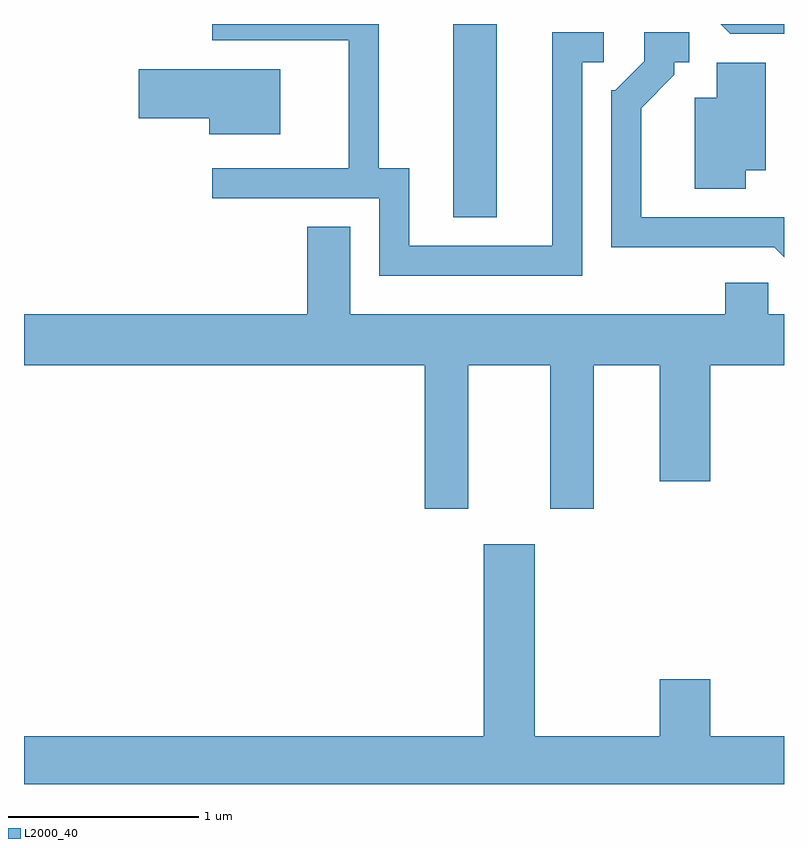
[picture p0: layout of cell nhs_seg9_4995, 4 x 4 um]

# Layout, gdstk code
import gdstk
lib = gdstk.Library(unit=1e-6, precision=1e-09)
def R(c, l, rs):  # rectangles x0, y0, x1, y1
    for r in rs: c.add(gdstk.rectangle(r[:2], r[2:], *l))
def P(c, l, *ps):  # polygons
    for p in ps: c.add(gdstk.Polygon(p, *l))
L2000_40 = (2000, 40)

nhs_seg9_4995 = lib.new_cell('nhs_seg9_4995')
R(nhs_seg9_4995, L2000_40, [(333.871,2061.416,334.099,2062.432)])
P(nhs_seg9_4995, L2000_40, [(334.549,2062.231),(334.663,2062.231),(334.663,2062.389),(334.391,2062.389),(334.391,2061.264),(333.639,2061.264),(333.639,2061.674),(333.479,2061.674),(333.479,2062.432),(332.603,2062.432),(332.603,2062.346),(333.321,2062.346),(333.321,2061.674),(332.603,2061.674),(332.603,2061.516),(333.481,2061.516),(333.481,2061.106),(334.549,2061.106)],
  [(335.611,2062.432),(335.278,2062.432),(335.329,2062.381),(335.611,2062.381)],
  [(335.611,2061.414),(334.859,2061.414),(334.859,2061.989),(335.034,2062.164),(335.034,2062.231),(335.113,2062.231),(335.113,2062.389),(334.876,2062.389),(334.876,2062.237),(334.724,2062.084),(334.701,2062.084),(334.701,2061.256),(335.559,2061.256),(335.611,2061.204)],
  [(335.409,2061.661),(335.514,2061.661),(335.514,2062.229),(335.256,2062.229),(335.256,2062.044),(335.141,2062.044),(335.141,2061.566),(335.409,2061.566)],
  [(332.959,2062.194),(332.216,2062.194),(332.216,2061.936),(332.586,2061.936),(332.586,2061.851),(332.959,2061.851)],
  [(333.949,2060.636),(334.381,2060.636),(334.381,2059.881),(334.609,2059.881),(334.609,2060.636),(334.956,2060.636),(334.956,2060.026),(335.224,2060.026),(335.224,2060.636),(335.611,2060.636),(335.611,2060.904),(335.529,2060.904),(335.529,2061.069),(335.301,2061.069),(335.301,2060.904),(333.329,2060.904),(333.329,2061.364),(333.101,2061.364),(333.101,2060.904),(331.611,2060.904),(331.611,2060.636),(333.721,2060.636),(333.721,2059.881),(333.949,2059.881)],
  [(335.611,2058.684),(335.224,2058.684),(335.224,2058.984),(334.956,2058.984),(334.956,2058.684),(334.299,2058.684),(334.299,2059.694),(334.031,2059.694),(334.031,2058.684),(331.611,2058.684),(331.611,2058.432),(335.611,2058.432)])

lib.write_gds('nhs_seg9_4995.gds')
